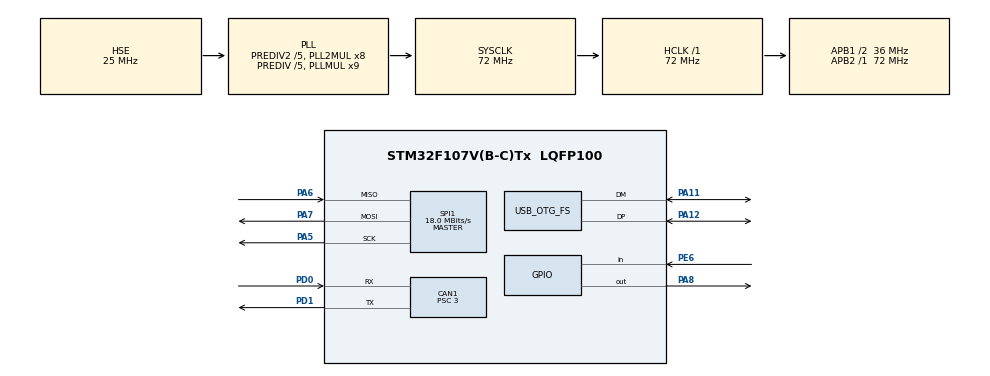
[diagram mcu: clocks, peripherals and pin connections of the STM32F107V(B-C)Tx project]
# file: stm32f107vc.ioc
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CAN1.BS1=CAN_BS1_5TQ
CAN1.BS2=CAN_BS2_6TQ
CAN1.CalculateTimeBit=1000
CAN1.CalculateTimeQuantum=83.33333333333334
CAN1.Prescaler=3
Mcu.Family=STM32F1
Mcu.Name=STM32F107V(B-C)Tx
Mcu.Package=LQFP100
NVIC.CAN1_RX0_IRQn=true\:0\:0\:false\:false\:true\:true
NVIC.CAN1_SCE_IRQn=true\:0\:0\:false\:false\:true\:true
NVIC.CAN1_TX_IRQn=true\:0\:0\:false\:false\:true\:true
NVIC.OTG_FS_IRQn=true\:0\:0\:false\:false\:true\:false
NVIC.PriorityGroup=NVIC_PRIORITYGROUP_4
NVIC.SPI1_IRQn=true\:0\:0\:false\:false\:true\:true
OSC_IN.Mode=HSE-External-Oscillator
OSC_IN.Signal=RCC_OSC_IN
OSC_OUT.Mode=HSE-External-Oscillator
OSC_OUT.Signal=RCC_OSC_OUT
PA11.Mode=Device_Only
PA11.Signal=USB_OTG_FS_DM
PA12.Mode=Device_Only
PA12.Signal=USB_OTG_FS_DP
PA13.Mode=Serial_Wire
PA13.Signal=SYS_JTMS-SWDIO
PA14.Mode=Serial_Wire
PA14.Signal=SYS_JTCK-SWCLK
PA5.Mode=Full_Duplex_Master
PA5.Signal=SPI1_SCK
PA6.Mode=Full_Duplex_Master
PA6.Signal=SPI1_MISO
PA7.Mode=Full_Duplex_Master
PA7.Signal=SPI1_MOSI
PA8.Signal=GPIO_Output
PD0.Mode=Master
PD0.Signal=CAN1_RX
PD1.Mode=Master
PD1.Signal=CAN1_TX
PE6.Signal=GPIO_Input
ProjectManager.HeapSize=0x200
ProjectManager.StackSize=0x400
ProjectManager.TargetToolchain=EWARM V8
RCC.AHBFreq_Value=72000000
RCC.APB1CLKDivider=RCC_HCLK_DIV2
RCC.APB1Freq_Value=36000000
RCC.APB1TimFreq_Value=72000000
RCC.APB2Freq_Value=72000000
RCC.APB2TimFreq_Value=72000000
RCC.HCLKFreq_Value=72000000
RCC.HSEDivPLL=RCC_HSE_PREDIV_DIV5
RCC.HSE_VALUE=25000000
RCC.PLLMUL=RCC_PLL_MUL9
RCC.Prediv1Source=RCC_PREDIV1_SOURCE_PLL2
RCC.Prediv2=RCC_HSE_PREDIV2_DIV5
RCC.SYSCLKFreq_VALUE=72000000
RCC.SYSCLKSource=RCC_SYSCLKSOURCE_PLLCLK
RCC.USBFreq_Value=48000000
SPI1.BaudRatePrescaler=SPI_BAUDRATEPRESCALER_4
SPI1.CalculateBaudRate=18.0 MBits/s
SPI1.Direction=SPI_DIRECTION_2LINES
SPI1.Mode=SPI_MODE_MASTER
SPI1.VirtualType=VM_MASTER
USB_DEVICE.CLASS_NAME_FS=CDC
USB_DEVICE.VirtualMode=Cdc
USB_DEVICE.VirtualModeFS=Cdc_FS
USB_OTG_FS.VirtualMode=Device_Only
VP_USB_DEVICE_VS_USB_DEVICE_CDC_FS.Mode=CDC_FS
board=custom

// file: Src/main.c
/**
  ******************************************************************************
  * @file           : main.c
  * @brief          : Main program body
  ******************************************************************************
  * This notice applies to any and all portions of this file
  * that are not between comment pairs USER CODE BEGIN and
  * USER CODE END. Other portions of this file, whether
  * inserted by the user or by software development tools
  * are owned by their respective copyright owners.
  *
  * Copyright (c) 2019 STMicroelectronics International N.V.
  * All rights reserved.
  *
  * Redistribution and use in source and binary forms, with or without
  * modification, are permitted, provided that the following conditions are met:
  *
  * 1. Redistribution of source code must retain the above copyright notice,
  *    this list of conditions and the following disclaimer.
  * 2. Redistributions in binary form must reproduce the above copyright notice,
  *    this list of conditions and the following disclaimer in the documentation
  *    and/or other materials provided with the distribution.
  * 3. Neither the name of STMicroelectronics nor the names of other
  *    contributors to this software may be used to endorse or promote products
  *    derived from this software without specific written permission.
  * 4. This software, including modifications and/or derivative works of this
  *    software, must execute solely and exclusively on microcontroller or
  *    microprocessor devices manufactured by or for STMicroelectronics.
  * 5. Redistribution and use of this software other than as permitted under
  *    this license is void and will automatically terminate your rights under
  *    this license.
  *
  * THIS SOFTWARE IS PROVIDED BY STMICROELECTRONICS AND CONTRIBUTORS "AS IS"
  * AND ANY EXPRESS, IMPLIED OR STATUTORY WARRANTIES, INCLUDING, BUT NOT
  * LIMITED TO, THE IMPLIED WARRANTIES OF MERCHANTABILITY, FITNESS FOR A
  * PARTICULAR PURPOSE AND NON-INFRINGEMENT OF THIRD PARTY INTELLECTUAL PROPERTY
  * RIGHTS ARE DISCLAIMED TO THE FULLEST EXTENT PERMITTED BY LAW. IN NO EVENT
  * SHALL STMICROELECTRONICS OR CONTRIBUTORS BE LIABLE FOR ANY DIRECT, INDIRECT,
  * INCIDENTAL, SPECIAL, EXEMPLARY, OR CONSEQUENTIAL DAMAGES (INCLUDING, BUT NOT
  * LIMITED TO, PROCUREMENT OF SUBSTITUTE GOODS OR SERVICES; LOSS OF USE, DATA,
  * OR PROFITS; OR BUSINESS INTERRUPTION) HOWEVER CAUSED AND ON ANY THEORY OF
  * LIABILITY, WHETHER IN CONTRACT, STRICT LIABILITY, OR TORT (INCLUDING
  * NEGLIGENCE OR OTHERWISE) ARISING IN ANY WAY OUT OF THE USE OF THIS SOFTWARE,
  * EVEN IF ADVISED OF THE POSSIBILITY OF SUCH DAMAGE.
  *
  ******************************************************************************
  */
#include "main.h"
#include "stm32f1xx_hal.h"
#include "usb_device.h"

/* USER CODE BEGIN Includes */
#include "asdebug.h"
#include "Os.h"
#include "Dio.h"
#define main unused_main
/* USER CODE END Includes */

CAN_HandleTypeDef hcan1;

SPI_HandleTypeDef hspi1;

/* USER CODE BEGIN PV */
/* Private variables ---------------------------------------------------------*/
/* https://blog.csdn.net/weifengdq/article/details/80585460 */
static CanRxMsgTypeDef RxMsg;
static CanRxMsgTypeDef Rx1Msg;
/* USER CODE END PV */

void SystemClock_Config(void);
static void MX_GPIO_Init(void);
static void MX_CAN1_Init(void);
static void MX_SPI1_Init(void);

/* USER CODE BEGIN PFP */
/* Private function prototypes -----------------------------------------------*/

/* USER CODE END PFP */

/* USER CODE BEGIN 0 */
int mx_can_write(uint32_t canid, uint8_t dlc, uint8_t* data)
{
	CanTxMsgTypeDef msg;

	msg.RTR = CAN_RTR_DATA;
	msg.DLC = dlc;

	if(canid & 0x80000000)
	{
		msg.IDE = CAN_ID_EXT;
		msg.ExtId = canid&0x7FFFFFFF;
	}
	else
	{
		msg.IDE = CAN_ID_STD;
		msg.StdId = canid&0x7FFFFFFF;
	}

	memcpy(msg.Data, data, dlc);

	hcan1.pTxMsg = &msg;

	if(HAL_OK == HAL_CAN_Transmit_IT(&hcan1))
	{
		return 0;
	}

	return -1;
}

void mx_can_init(void) {

	CAN_FilterConfTypeDef filterConfig;

	hcan1.pRxMsg = &RxMsg;
	hcan1.pRx1Msg = &Rx1Msg;
	RxMsg.DLC = 0xFF;
	Rx1Msg.DLC = 0xFF;

	filterConfig.FilterNumber = 0;
	filterConfig.FilterMode = CAN_FILTERMODE_IDMASK;
	filterConfig.FilterScale = CAN_FILTERSCALE_32BIT;
	filterConfig.FilterIdHigh = 0x0000;
	filterConfig.FilterIdLow = 0x0000;
	filterConfig.FilterMaskIdHigh = 0x0000;
	filterConfig.FilterMaskIdLow = 0x0000;
	filterConfig.FilterFIFOAssignment = CAN_FILTER_FIFO0;
	filterConfig.FilterActivation = ENABLE;
	filterConfig.BankNumber = 14;

	if(HAL_CAN_ConfigFilter(&hcan1,&filterConfig) != HAL_OK)
	{
		_Error_Handler(__FILE__, __LINE__);
	}

	__HAL_CAN_ENABLE_IT(&hcan1, CAN_IT_FMP0);
}

/* USER CODE END 0 */

int main(void)
{

  /* MCU Configuration----------------------------------------------------------*/

  /* Reset of all peripherals, Initializes the Flash interface and the Systick. */
  HAL_Init();

  /* Configure the system clock */
  SystemClock_Config();

  /* Initialize all configured peripherals */
  MX_GPIO_Init();
  MX_CAN1_Init();
  MX_USB_DEVICE_Init();
  MX_SPI1_Init();

  /* Infinite loop */
  while (1)
  {

  }

}

void SystemClock_Config(void)
{

  RCC_OscInitTypeDef RCC_OscInitStruct;
  RCC_ClkInitTypeDef RCC_ClkInitStruct;
  RCC_PeriphCLKInitTypeDef PeriphClkInit;

    /**Initializes the CPU, AHB and APB busses clocks
    */
  RCC_OscInitStruct.OscillatorType = RCC_OSCILLATORTYPE_HSE;
  RCC_OscInitStruct.HSEState = RCC_HSE_ON;
  RCC_OscInitStruct.HSEPredivValue = RCC_HSE_PREDIV_DIV5;
  RCC_OscInitStruct.HSIState = RCC_HSI_ON;
  RCC_OscInitStruct.Prediv1Source = RCC_PREDIV1_SOURCE_PLL2;
  RCC_OscInitStruct.PLL.PLLState = RCC_PLL_ON;
  RCC_OscInitStruct.PLL.PLLSource = RCC_PLLSOURCE_HSE;
  RCC_OscInitStruct.PLL.PLLMUL = RCC_PLL_MUL9;
  RCC_OscInitStruct.PLL2.PLL2State = RCC_PLL2_ON;
  RCC_OscInitStruct.PLL2.PLL2MUL = RCC_PLL2_MUL8;
  RCC_OscInitStruct.PLL2.HSEPrediv2Value = RCC_HSE_PREDIV2_DIV5;
  if (HAL_RCC_OscConfig(&RCC_OscInitStruct) != HAL_OK)
  {
    _Error_Handler(__FILE__, __LINE__);
  }

    /**Initializes the CPU, AHB and APB busses clocks
    */
  RCC_ClkInitStruct.ClockType = RCC_CLOCKTYPE_HCLK|RCC_CLOCKTYPE_SYSCLK
                              |RCC_CLOCKTYPE_PCLK1|RCC_CLOCKTYPE_PCLK2;
  RCC_ClkInitStruct.SYSCLKSource = RCC_SYSCLKSOURCE_PLLCLK;
  RCC_ClkInitStruct.AHBCLKDivider = RCC_SYSCLK_DIV1;
  RCC_ClkInitStruct.APB1CLKDivider = RCC_HCLK_DIV2;
  RCC_ClkInitStruct.APB2CLKDivider = RCC_HCLK_DIV1;

  if (HAL_RCC_ClockConfig(&RCC_ClkInitStruct, FLASH_LATENCY_2) != HAL_OK)
  {
    _Error_Handler(__FILE__, __LINE__);
  }

  PeriphClkInit.PeriphClockSelection = RCC_PERIPHCLK_USB;
  PeriphClkInit.UsbClockSelection = RCC_USBCLKSOURCE_PLL_DIV3;
  if (HAL_RCCEx_PeriphCLKConfig(&PeriphClkInit) != HAL_OK)
  {
    _Error_Handler(__FILE__, __LINE__);
  }

    /**Configure the Systick interrupt time
    */
  HAL_SYSTICK_Config(HAL_RCC_GetHCLKFreq()/1000);

    /**Configure the Systick
    */
  HAL_SYSTICK_CLKSourceConfig(SYSTICK_CLKSOURCE_HCLK);

    /**Configure the Systick interrupt time
    */
  __HAL_RCC_PLLI2S_ENABLE();

  /* SysTick_IRQn interrupt configuration */
  HAL_NVIC_SetPriority(SysTick_IRQn, 0, 0);
}

/* CAN1 init function */
static void MX_CAN1_Init(void)
{

  hcan1.Instance = CAN1;
  hcan1.Init.Prescaler = 3;
  hcan1.Init.Mode = CAN_MODE_NORMAL;
  hcan1.Init.SJW = CAN_SJW_1TQ;
  hcan1.Init.BS1 = CAN_BS1_5TQ;
  hcan1.Init.BS2 = CAN_BS2_6TQ;
  hcan1.Init.TTCM = DISABLE;
  hcan1.Init.ABOM = DISABLE;
  hcan1.Init.AWUM = DISABLE;
  hcan1.Init.NART = DISABLE;
  hcan1.Init.RFLM = DISABLE;
  hcan1.Init.TXFP = DISABLE;
  if (HAL_CAN_Init(&hcan1) != HAL_OK)
  {
    _Error_Handler(__FILE__, __LINE__);
  }

}

/* SPI1 init function */
static void MX_SPI1_Init(void)
{

  /* SPI1 parameter configuration*/
  hspi1.Instance = SPI1;
  hspi1.Init.Mode = SPI_MODE_MASTER;
  hspi1.Init.Direction = SPI_DIRECTION_2LINES;
  hspi1.Init.DataSize = SPI_DATASIZE_8BIT;
  hspi1.Init.CLKPolarity = SPI_POLARITY_LOW;
  hspi1.Init.CLKPhase = SPI_PHASE_1EDGE;
  hspi1.Init.NSS = SPI_NSS_SOFT;
  hspi1.Init.BaudRatePrescaler = SPI_BAUDRATEPRESCALER_64;
  hspi1.Init.FirstBit = SPI_FIRSTBIT_MSB;
  hspi1.Init.TIMode = SPI_TIMODE_DISABLE;
  hspi1.Init.CRCCalculation = SPI_CRCCALCULATION_DISABLE;
  hspi1.Init.CRCPolynomial = 10;
  if (HAL_SPI_Init(&hspi1) != HAL_OK)
  {
    _Error_Handler(__FILE__, __LINE__);
  }

}

/** Configure pins as
        * Analog
        * Input
        * Output
        * EVENT_OUT
        * EXTI
*/
static void MX_GPIO_Init(void)
{
  /* GPIO Ports Clock Enable */
  __HAL_RCC_GPIOA_CLK_ENABLE();
  __HAL_RCC_GPIOD_CLK_ENABLE();

}

/* USER CODE BEGIN 4 */

void sd_spi_init(int sd)
{
  GPIO_InitTypeDef GPIO_InitStruct;

  __HAL_RCC_GPIOA_CLK_ENABLE();
  __HAL_RCC_GPIOE_CLK_ENABLE();

  /*Configure GPIO pin Output Level */
  HAL_GPIO_WritePin(GPIOA, GPIO_PIN_8, GPIO_PIN_RESET);

  /*Configure GPIO pin : PE6 SDCARD Detection */
  GPIO_InitStruct.Pin = GPIO_PIN_6;
  GPIO_InitStruct.Mode = GPIO_MODE_INPUT;
  GPIO_InitStruct.Pull = GPIO_NOPULL;
  HAL_GPIO_Init(GPIOE, &GPIO_InitStruct);

  /*Configure GPIO pin : PA8 SDCARD CS */
  GPIO_InitStruct.Pin = GPIO_PIN_8;
  GPIO_InitStruct.Mode = GPIO_MODE_OUTPUT_PP;
  GPIO_InitStruct.Pull = GPIO_NOPULL;
  GPIO_InitStruct.Speed = GPIO_SPEED_FREQ_LOW;
  HAL_GPIO_Init(GPIOA, &GPIO_InitStruct);
  MX_SPI1_Init();
}

void sd_spi_clk_slow(int sd)
{
	hspi1.Init.BaudRatePrescaler = SPI_BAUDRATEPRESCALER_64;
	if (HAL_SPI_Init(&hspi1) != HAL_OK)
	{
		_Error_Handler(__FILE__, __LINE__);
	}
}
void sd_spi_fast_fast(int sd)
{
	hspi1.Init.BaudRatePrescaler = SPI_BAUDRATEPRESCALER_16;
	if (HAL_SPI_Init(&hspi1) != HAL_OK)
	{
		_Error_Handler(__FILE__, __LINE__);
	}
}

void sd_chip_selected(int sd, int select)
{
	HAL_GPIO_WritePin(GPIOA, GPIO_PIN_8, select);
}

int sd_is_detected(int sd)
{
	/* TODO: not working for now */
	return (GPIO_PIN_SET == HAL_GPIO_ReadPin(GPIOE, GPIO_PIN_6));
}

int sd_spi_transmit(int sd, uint8_t* txData, uint8_t* rxData, size_t size)
{
	int ercd;

	if((txData != NULL) && (rxData != NULL))
	{
		ercd = HAL_SPI_TransmitReceive(&hspi1, txData, rxData, size, OS_TICKS_PER_SECOND);
	}
	else if(txData != NULL)
	{
		ercd = HAL_SPI_Transmit(&hspi1, txData, size, OS_TICKS_PER_SECOND);
	}
	else
	{
		ercd = HAL_SPI_Receive(&hspi1, rxData, size, OS_TICKS_PER_SECOND);
	}

	return ercd;
}

uint32_t HAL_GetTick(void)
{
	return GetOsTick();
}

KSM(USB,Init)
{
	__HAL_RCC_AFIO_CLK_ENABLE();
	__HAL_RCC_PWR_CLK_ENABLE();
	MX_GPIO_Init();

	KGS(USB,Start);
}
KSM(USB,Start)
{
#ifndef __AS_BOOTLOADER__
	MX_CAN1_Init();
	mx_can_init();
#endif
	MX_USB_DEVICE_Init();

	KGS(USB,Running);
}
KSM(USB,Stop)
{

}
extern void CDC_MainFunction(void);
KSM(USB,Running)
{
	CDC_MainFunction();
}
/* USER CODE END 4 */

void _Error_Handler(char *file, int line)
{
  /* USER CODE BEGIN Error_Handler_Debug */
  /* User can add his own implementation to report the HAL error return state */
    printf("ERROR @%s %d\n", file, line);
  /* USER CODE END Error_Handler_Debug */
}

/************************ (C) COPYRIGHT STMicroelectronics *****END OF FILE****/
